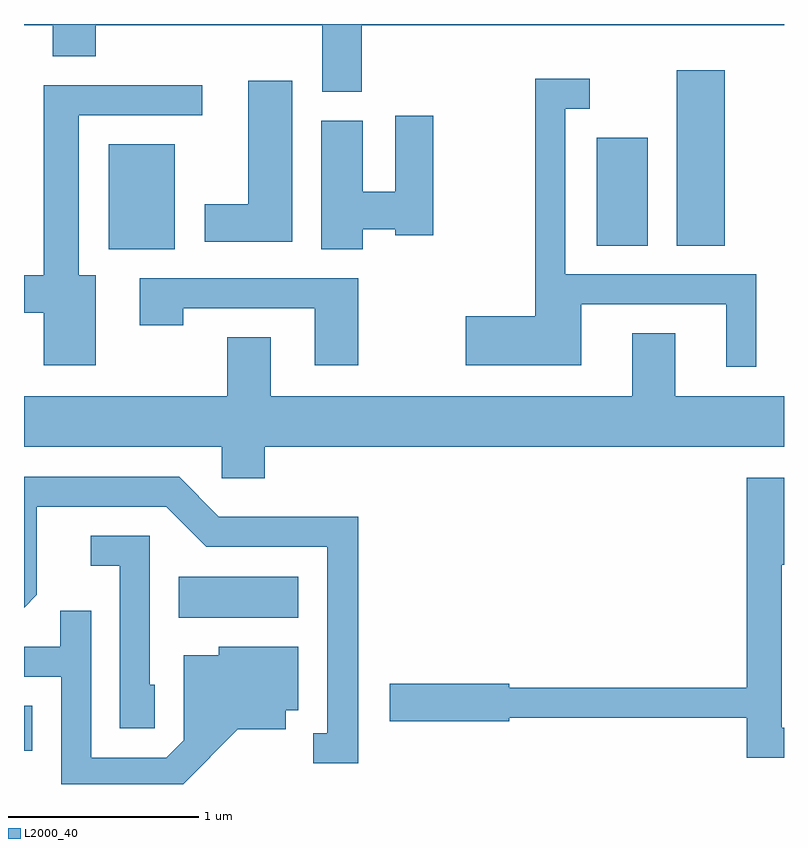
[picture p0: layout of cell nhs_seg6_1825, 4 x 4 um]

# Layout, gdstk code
import gdstk
lib = gdstk.Library(unit=1e-6, precision=1e-09)
def R(c, l, rs):  # rectangles x0, y0, x1, y1
    for r in rs: c.add(gdstk.rectangle(r[:2], r[2:], *l))
def P(c, l, *ps):  # polygons
    for p in ps: c.add(gdstk.Polygon(p, *l))
L2000_40 = (2000, 40)

nhs_seg6_1825 = lib.new_cell('nhs_seg6_1825')
R(nhs_seg6_1825, L2000_40, [(239.611,1648.338,239.654,1648.574), (240.426,1649.036,241.054,1649.254), (240.056,1650.976,240.404,1651.529), (242.626,1650.996,242.894,1651.564), (243.046,1650.996,243.299,1651.919)])
P(nhs_seg6_1825, L2000_40, [(241.389,1652.156),(243.611,1652.156),(243.611,1652.162),(239.611,1652.162),(239.611,1652.156),(239.761,1652.156),(239.761,1651.991),(239.989,1651.991),(239.989,1652.156),(241.181,1652.156),(241.181,1651.806),(241.389,1651.806)],
  [(243.464,1650.844),(242.459,1650.844),(242.459,1651.716),(242.588,1651.716),(242.588,1651.874),(242.301,1651.874),(242.301,1650.624),(241.936,1650.624),(241.936,1650.366),(242.544,1650.366),(242.544,1650.686),(243.306,1650.686),(243.306,1650.358),(243.464,1650.358)],
  [(241.024,1651.864),(240.791,1651.864),(240.791,1651.214),(240.561,1651.214),(240.561,1651.016),(241.024,1651.016)],
  [(239.989,1650.839),(239.899,1650.839),(239.899,1651.681),(240.548,1651.681),(240.548,1651.839),(239.716,1651.839),(239.716,1650.839),(239.611,1650.839),(239.611,1650.641),(239.716,1650.641),(239.716,1650.366),(239.989,1650.366)],
  [(241.394,1651.081),(241.566,1651.081),(241.566,1651.051),(241.764,1651.051),(241.764,1651.679),(241.566,1651.679),(241.566,1651.279),(241.394,1651.279),(241.394,1651.654),(241.176,1651.654),(241.176,1650.976),(241.394,1650.976)],
  [(241.369,1650.824),(240.221,1650.824),(240.221,1650.576),(240.449,1650.576),(240.449,1650.666),(241.141,1650.666),(241.141,1650.366),(241.369,1650.366)],
  [(240.879,1649.936),(243.611,1649.936),(243.611,1650.204),(243.039,1650.204),(243.039,1650.534),(242.811,1650.534),(242.811,1650.204),(240.909,1650.204),(240.909,1650.514),(240.681,1650.514),(240.681,1650.204),(239.611,1650.204),(239.611,1649.936),(240.651,1649.936),(240.651,1649.771),(240.879,1649.771)],
  [(241.369,1649.569),(240.637,1649.569),(240.427,1649.779),(239.611,1649.779),(239.611,1649.09),(239.679,1649.159),(239.679,1649.621),(240.359,1649.621),(240.569,1649.411),(241.206,1649.411),(241.206,1648.429),(241.133,1648.429),(241.133,1648.271),(241.369,1648.271)],
  [(243.611,1648.459),(243.599,1648.459),(243.599,1649.316),(243.611,1649.316),(243.611,1649.774),(243.416,1649.774),(243.416,1648.669),(242.164,1648.669),(242.164,1648.689),(241.536,1648.689),(241.536,1648.491),(242.164,1648.491),(242.164,1648.511),(243.416,1648.511),(243.416,1648.301),(243.611,1648.301)],
  [(240.299,1648.684),(240.274,1648.684),(240.274,1649.469),(239.963,1649.469),(239.963,1649.311),(240.116,1649.311),(240.116,1648.456),(240.299,1648.456)],
  [(240.737,1648.451),(240.989,1648.451),(240.989,1648.551),(241.054,1648.551),(241.054,1648.884),(240.636,1648.884),(240.636,1648.839),(240.451,1648.839),(240.451,1648.392),(240.359,1648.299),(239.964,1648.299),(239.964,1649.073),(239.801,1649.073),(239.801,1648.884),(239.611,1648.884),(239.611,1648.726),(239.806,1648.726),(239.806,1648.162),(240.448,1648.162)])

lib.write_gds('nhs_seg6_1825.gds')
